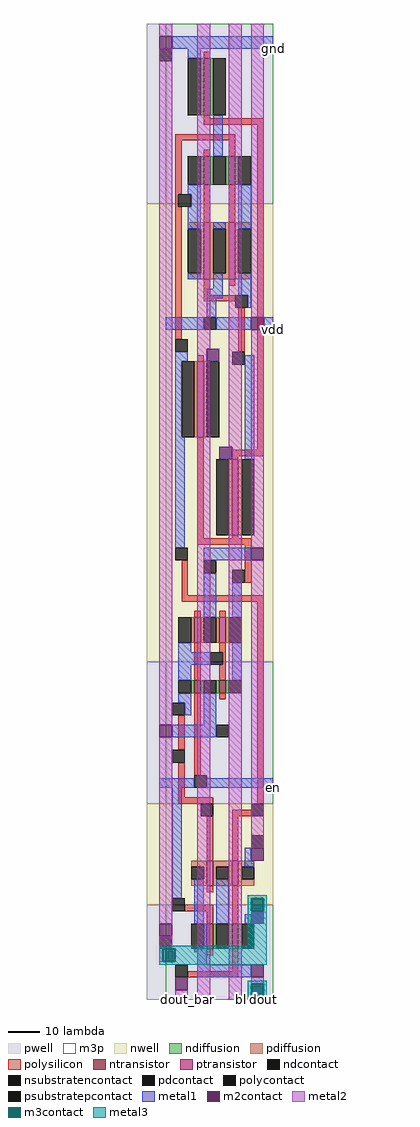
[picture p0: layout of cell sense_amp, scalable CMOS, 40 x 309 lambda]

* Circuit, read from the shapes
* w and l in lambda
.subckt sense_amp bl br dout dout_bar en gnd vdd
M1 gnd en n1 gnd nfet w=4 l=2
M2 n2 n3 dout_bar gnd nfet w=9 l=2
M3 n2 n4 gnd gnd nfet w=18 l=2
M4 n5 en dout gnd nfet w=8 l=2
M5 n4 n1 gnd gnd nfet w=4 l=2
M6 n3 dout_bar n2 gnd nfet w=9 l=2
M7 gnd dout_bar n5 gnd nfet w=8 l=2
M8 vdd en n1 vdd pfet w=8 l=2
M9 br n4 dout_bar vdd pfet w=24 l=2
M10 vdd n3 dout_bar vdd pfet w=18 l=2
M11 n5 n1 dout vdd pfet w=8 l=2
M12 n4 n1 vdd vdd pfet w=8 l=2
M13 n3 dout_bar vdd vdd pfet w=18 l=2
M14 vdd dout_bar n5 vdd pfet w=8 l=2
M15 n3 n4 bl vdd pfet w=24 l=2
.ends

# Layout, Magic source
magic
tech scmos
<< nwell >>
rect -6 107 34 252
rect -6 30 34 62
<< pwell >>
rect -6 252 34 309
rect -6 62 34 107
rect -6 0 34 30
<< ntransistor >>
rect 12 280 14 298
rect 12 258 14 267
rect 20 258 22 267
rect 9 97 11 101
rect 17 97 19 101
rect 13 16 15 24
rect 21 16 23 24
<< ptransistor >>
rect 12 228 14 246
rect 20 228 22 246
rect 10 178 12 202
rect 21 147 23 171
rect 9 113 11 121
rect 17 113 19 121
rect 13 36 15 44
rect 21 36 23 44
<< ndiffusion >>
rect 11 280 12 298
rect 14 280 15 298
rect 11 258 12 267
rect 14 258 15 267
rect 19 258 20 267
rect 22 258 23 267
rect 8 97 9 101
rect 11 97 12 101
rect 16 97 17 101
rect 19 97 20 101
rect 12 16 13 24
rect 15 16 16 24
rect 20 16 21 24
rect 23 16 24 24
<< pdiffusion >>
rect 7 244 12 246
rect 11 230 12 244
rect 7 228 12 230
rect 14 244 20 246
rect 14 230 15 244
rect 19 230 20 244
rect 14 228 20 230
rect 22 244 27 246
rect 22 230 23 244
rect 22 228 27 230
rect 9 178 10 202
rect 12 178 13 202
rect 20 147 21 171
rect 23 147 24 171
rect 8 113 9 121
rect 11 113 12 121
rect 16 113 17 121
rect 19 113 20 121
rect 8 42 13 44
rect 12 38 13 42
rect 8 36 13 38
rect 15 42 21 44
rect 15 38 16 42
rect 20 38 21 42
rect 15 36 21 38
rect 23 42 28 44
rect 23 38 24 42
rect 23 36 28 38
<< ndcontact >>
rect 7 280 11 298
rect 15 280 19 298
rect 7 258 11 267
rect 15 258 19 267
rect 23 258 27 267
rect 4 97 8 101
rect 12 97 16 101
rect 20 97 24 101
rect 8 16 12 24
rect 16 16 20 24
rect 24 16 28 24
<< pdcontact >>
rect 7 230 11 244
rect 15 230 19 244
rect 23 230 27 244
rect 5 178 9 202
rect 13 178 17 202
rect 16 147 20 171
rect 24 147 28 171
rect 4 113 8 121
rect 12 113 16 121
rect 20 113 24 121
rect 8 38 12 42
rect 16 38 20 42
rect 24 38 28 42
<< psubstratepcontact >>
rect -2 297 2 301
rect 16 83 20 87
rect -2 16 2 20
<< nsubstratencontact >>
rect 12 212 16 216
rect 12 135 16 139
rect 27 48 31 52
<< polysilicon >>
rect 12 298 14 300
rect 12 279 14 280
rect 12 277 31 279
rect 3 272 22 274
rect 3 255 5 272
rect 12 267 14 269
rect 20 267 22 272
rect 3 251 4 255
rect 3 209 5 251
rect 12 246 14 258
rect 20 246 22 258
rect 12 223 14 228
rect 20 226 22 228
rect 12 221 22 223
rect 23 205 25 219
rect 10 202 12 204
rect 10 146 12 178
rect 29 174 31 277
rect 21 172 31 174
rect 21 171 23 172
rect 21 146 23 147
rect 10 144 27 146
rect 5 128 7 139
rect 25 132 27 144
rect 5 126 31 128
rect 9 121 11 123
rect 17 121 19 123
rect 9 101 11 113
rect 17 110 19 113
rect 18 106 19 110
rect 17 101 19 106
rect 4 79 6 90
rect 4 64 6 75
rect 9 71 11 97
rect 17 95 19 97
rect 4 62 15 64
rect 29 62 31 126
rect 13 44 15 58
rect 21 58 27 60
rect 21 44 23 58
rect 13 34 15 36
rect 6 28 15 30
rect 13 24 15 28
rect 21 24 23 36
rect 13 14 15 16
rect 21 9 23 16
rect 7 7 23 9
<< polycontact >>
rect 4 251 8 255
rect 22 219 26 223
rect 3 205 7 209
rect 21 201 25 205
rect 3 139 7 143
rect 21 132 25 136
rect 14 106 18 110
rect 2 90 6 94
rect 2 75 6 79
rect 9 67 13 71
rect 11 58 15 62
rect 27 58 31 62
rect 2 28 6 32
rect 3 7 7 11
<< metal1 >>
rect 2 301 34 305
rect 7 298 11 301
rect 15 267 18 280
rect 7 255 11 258
rect 8 251 11 255
rect 7 244 11 251
rect 7 228 11 230
rect 15 244 19 246
rect 23 244 27 258
rect 15 225 18 230
rect 13 222 18 225
rect 23 223 27 230
rect 13 216 16 222
rect 26 219 27 223
rect 0 212 12 216
rect 16 212 27 216
rect 31 212 34 216
rect 3 202 7 205
rect 3 178 5 202
rect 3 143 6 178
rect 25 171 28 204
rect 12 139 27 143
rect 12 121 16 135
rect 21 121 24 132
rect 4 110 8 113
rect 4 106 14 110
rect 4 101 8 106
rect 21 101 24 113
rect 4 94 8 97
rect 6 90 8 94
rect 12 87 16 97
rect 2 83 16 87
rect -2 67 9 70
rect 13 67 34 70
rect 2 32 5 67
rect 25 44 27 48
rect 25 42 28 44
rect 9 24 12 38
rect 16 24 20 38
rect 25 24 27 27
rect 12 16 13 24
rect 9 15 13 16
rect 10 11 13 15
rect 10 7 27 11
<< m2contact >>
rect -2 301 2 305
rect 27 212 31 216
rect 13 202 17 206
rect 17 171 21 175
rect 27 139 31 143
rect -2 83 2 87
rect 27 44 31 48
rect 27 24 31 28
rect -2 20 2 24
rect 27 7 31 11
rect 3 3 7 7
<< metal2 >>
rect -2 305 2 309
rect -2 87 2 301
rect -2 24 2 83
rect -2 16 2 20
rect 10 206 14 309
rect 10 202 13 206
rect -2 12 -1 16
rect 3 0 7 3
rect 10 0 14 202
rect 20 175 24 309
rect 21 171 24 175
rect 20 0 24 171
rect 27 216 31 309
rect 27 143 31 212
rect 27 48 31 139
rect 27 5 31 7
<< m3contact >>
rect -1 12 3 16
rect 27 28 31 32
rect 27 1 31 5
<< metal3 >>
rect 26 32 32 33
rect 26 28 27 32
rect 31 28 32 32
rect 26 17 32 28
rect -2 16 32 17
rect -2 12 -1 16
rect 3 12 32 16
rect -2 11 32 12
rect 26 5 32 6
rect 26 1 27 5
rect 31 1 32 5
rect 26 0 32 1
<< m3p >>
rect 0 0 34 309
<< labels >>
flabel metal1 34 212 34 212 6 FreeSans 26 180 0 0 vdd
flabel metal1 34 301 34 301 6 FreeSans 26 180 0 0 gnd
flabel metal1 34 67 34 67 6 FreeSans 26 180 0 0 en
rlabel metal3 31 0 31 0 8 dout
rlabel metal2 24 0 24 0 1 bl
rlabel metal2 7 0 7 0 1 dout_bar
rlabel metal2 13 0 13 0 1 br
<< properties >>
string path 270.000 468.000 270.000 486.000 288.000 486.000 288.000 468.000 270.000 468.000 
<< end >>
